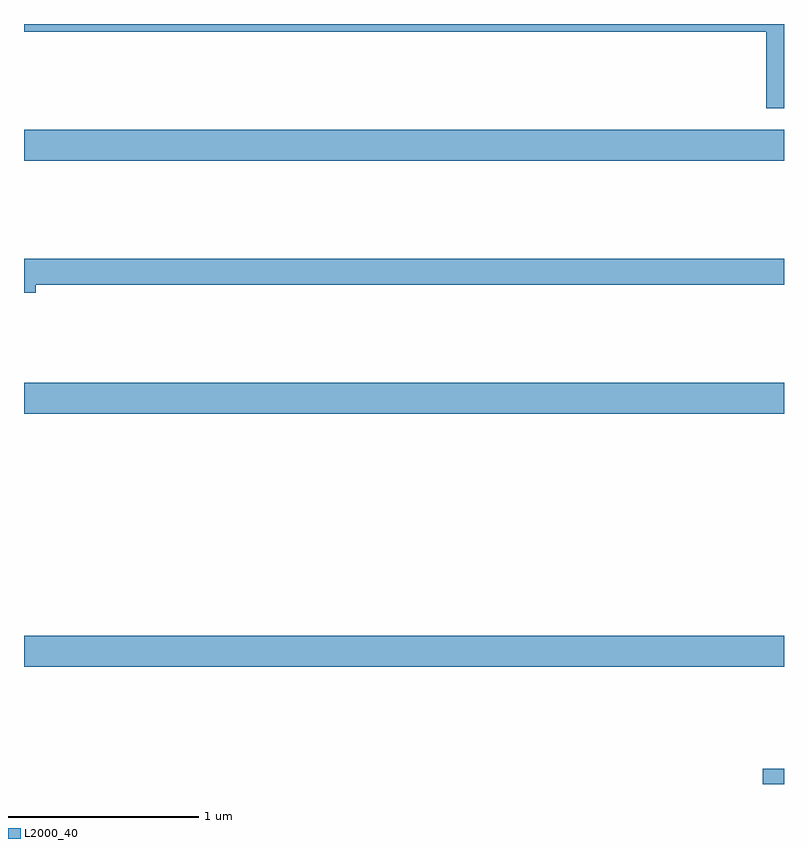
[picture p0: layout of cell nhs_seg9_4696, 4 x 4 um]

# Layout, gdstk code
import gdstk
lib = gdstk.Library(unit=1e-6, precision=1e-09)
def R(c, l, rs):  # rectangles x0, y0, x1, y1
    for r in rs: c.add(gdstk.rectangle(r[:2], r[2:], *l))
def A(c, l, x, y, w, h, nx, ny, dx, dy):  # array of equal rectangles
    R(c, l, [(x+i*dx, y+j*dy, x+i*dx+w, y+j*dy+h) for i in range(nx) for j in range(ny)])
def P(c, l, *ps):  # polygons
    for p in ps: c.add(gdstk.Polygon(p, *l))
L2000_40 = (2000, 40)

nhs_seg9_4696 = lib.new_cell('nhs_seg9_4696')
A(nhs_seg9_4696, L2000_40, 383, 1167.116, 4, 0.164, 1, 3, 0, 1.332)
R(nhs_seg9_4696, L2000_40, [(386.888,1166.5,387,1166.58)])
P(nhs_seg9_4696, L2000_40, [(387,1170.5),(383,1170.5),(383,1170.46),(386.906,1170.46),(386.906,1170.057),(387,1170.057)],
  [(383.062,1169.128),(387,1169.128),(387,1169.264),(383,1169.264),(383,1169.086),(383.062,1169.086)])

lib.write_gds('nhs_seg9_4696.gds')
